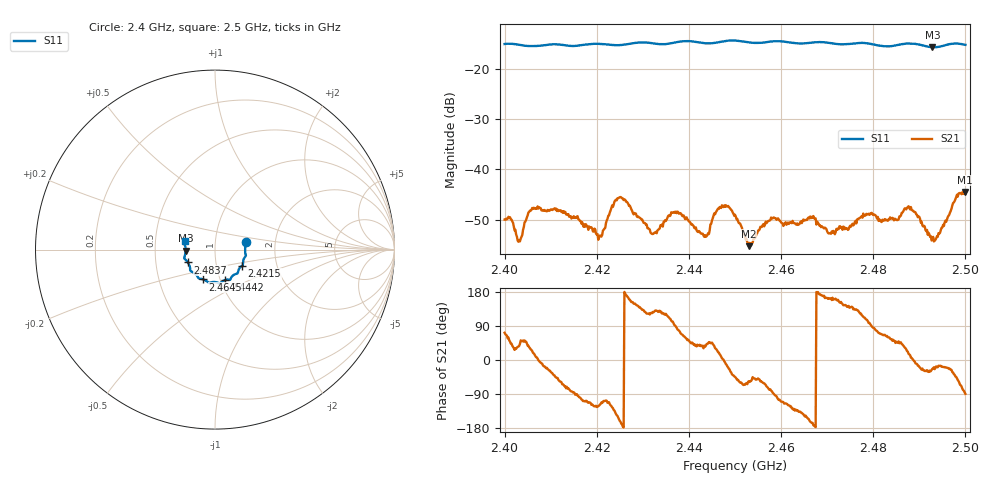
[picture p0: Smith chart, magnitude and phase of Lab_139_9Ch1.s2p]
# Hz S RI R 50
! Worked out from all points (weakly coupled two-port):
!   601 points, 2.4 GHz to 2.5 GHz, reference 50 ohm
!   highest |S21| = -44.50 dB at 2.4998 GHz (marker M1); lowest = -55.3 dB at 2.453 GHz (marker M2)
!   lowest |S11| = -15.7 dB at 2.4928 GHz (marker M3), VSWR 1.39, Z = 36 - j0.371 ohm
!   |S11| at or under -10 dB: start of sweep to end of sweep
!   S12 and S22 are empty: the file has one direction only
!   S11 on the Smith chart (normalised r, x): 2.4 GHz: 1.41, +0.12; 2.4215 GHz: 1.33, -0.25; 2.4442 GHz: 1.05, -0.37; 2.4645 GHz: 0.83, -0.29; 2.4837 GHz: 0.73, -0.11; 2.5 GHz: 0.71, +0.07
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2.4e9  0.1714 0.0401  0.000984 0.00301  0 0  0 0
2.403167e9  0.1711 0.0261  0.00157 0.00119  0 0  0 0
2.406333e9  0.168 -0.00535  0.00396 0.00124  0 0  0 0
2.416667e9  0.1569 -0.0697  -0.000695 -0.00281  0 0  0 0
2.4215e9  0.1509 -0.0898  -0.000776 -0.00239  0 0  0 0
2.425e9  0.1341 -0.1072  -0.005 -0.00174  0 0  0 0
2.433333e9  0.1083 -0.1384  -0.00151 0.00201  0 0  0 0
2.437167e9  0.088 -0.1606  0.000131 0.00379  0 0  0 0
2.444167e9  0.0565 -0.1692  0.00168 0.0016  0 0  0 0
2.446833e9  0.0358 -0.1813  0.00411 0.000926  0 0  0 0
2.45e9  0.0252 -0.1891  0.00252 -0.00248  0 0  0 0
2.453e9  0.0104 -0.1826  0.000965 -0.00143  0 0  0 0
2.458167e9  -0.0293 -0.1849  0.000224 -0.00324  0 0  0 0
2.4645e9  -0.0658 -0.166  -0.00222 -0.0019  0 0  0 0
2.466667e9  -0.0827 -0.162  -0.00326 -0.000838  0 0  0 0
2.470667e9  -0.0951 -0.1529  -0.0022 0.00073  0 0  0 0
2.483333e9  -0.149 -0.0751  0.00161 0.00276  0 0  0 0
2.483667e9  -0.1509 -0.0717  0.00185 0.00277  0 0  0 0
2.487833e9  -0.1714 -0.0486  0.004 0.00106  0 0  0 0
2.492833e9  -0.1633 -0.00502  0.00185 -0.000787  0 0  0 0
2.499833e9  -0.1664 0.0494  0.000501 -0.00593  0 0  0 0
2.5e9  -0.1653 0.0506  6.38e-05 -0.00573  0 0  0 0
